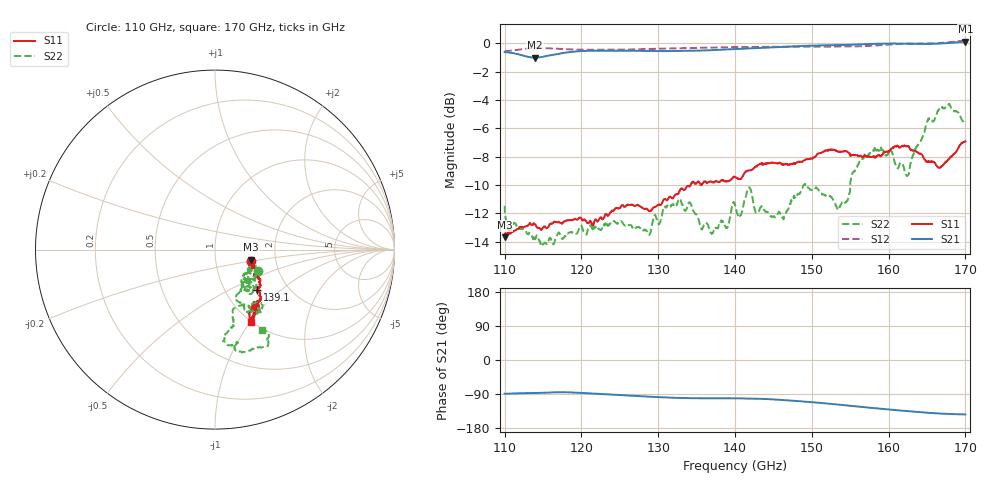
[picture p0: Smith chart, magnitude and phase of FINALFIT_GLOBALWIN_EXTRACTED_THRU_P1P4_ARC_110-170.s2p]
! Generated by Phase I extraction
# Hz S RI R 50
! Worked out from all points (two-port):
!   1471 points, 110 GHz to 170 GHz, reference 50 ohm
!   highest |S21| = 0.13 dB at 170 GHz (marker M1); lowest = -1.0 dB at 114 GHz (marker M2)
!   |S21| within 3 dB of the highest: start of sweep to end of sweep
!   lowest |S11| = -13.7 dB at 110 GHz (marker M3), VSWR 1.52, Z = 74.3 - j8.57 ohm
!   |S11| at or under -10 dB: start of sweep to 134.2 GHz
!   |S22| runs from -14.3 to -4.3 dB; largest |S21 - S12| = 0.94
!   S11 on the Smith chart (normalised r, x): 110 GHz: 1.49, -0.20; 139.1 GHz: 1.41, -0.71; 170 GHz: 0.99, -1.00
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1.1e11  0.2016 -0.0645  0.0165 -0.9314  0.4434 -0.8256  0.2386 -0.1205
1.100408e11  0.1996 -0.0552  0.0169 -0.9313  0.4425 -0.8264  0.2264 -0.112
1.139592e11  0.218 -0.0724  0.0443 -0.8896  0.3839 -0.8846  0.1963 -0.0539
1.2e11  0.2188 -0.1019  0.0518 -0.9384  0.2761 -0.9093  0.2009 -0.1068
1.3e11  0.2308 -0.1393  -0.1316 -0.9297  0.1975 -0.9374  0.1751 -0.1512
1.327755e11  0.2505 -0.1668  -0.1647 -0.9266  0.1693 -0.9467  0.2207 -0.1765
1.369388e11  0.2383 -0.2211  -0.1801 -0.9292  0.1181 -0.9596  0.1637 -0.1375
1.391429e11  0.2362 -0.2257  -0.1816 -0.9355  0.0876 -0.9656  0.1462 -0.1778
1.4e11  0.2408 -0.236  -0.1846 -0.9373  0.0773 -0.9674  0.1923 -0.1885
1.406531e11  0.2371 -0.2331  -0.1876 -0.9385  0.0701 -0.9686  0.1539 -0.1923
1.418367e11  0.2483 -0.2562  -0.1947 -0.9401  0.0586 -0.9702  0.2233 -0.216
1.428163e11  0.2537 -0.2652  -0.2029 -0.9408  0.0503 -0.9709  0.1885 -0.1672
1.463265e11  0.2336 -0.2903  -0.2639 -0.9362  0.0304 -0.9717  0.1578 -0.1801
1.5e11  0.2412 -0.3102  -0.3561 -0.9154  0.0266 -0.973  0.2035 -0.2259
1.535102e11  0.2248 -0.3489  -0.4614 -0.8717  0.0386 -0.9742  0.148 -0.2126
1.564082e11  0.2419 -0.3182  -0.5507 -0.8257  0.0495 -0.9763  0.1803 -0.3474
1.6e11  0.2196 -0.3524  -0.6502 -0.7587  0.0574 -0.9886  0.2547 -0.3281
1.624082e11  0.2034 -0.3838  -0.7034 -0.7079  0.0481 -0.9958  0.1326 -0.3134
1.647755e11  0.2227 -0.3177  -0.7487 -0.6571  0.0303 -0.9986  0.0549 -0.4977
1.666122e11  0.2188 -0.2911  -0.7786 -0.6255  0.0198 -1.003  0.1485 -0.5711
1.68e11  0.1961 -0.3448  -0.7968 -0.6114  0.016 -1.01  0.2972 -0.5261
1.7e11  0.1981 -0.4056  -0.8195 -0.5997  0.0136 -1.024  0.262 -0.4456
